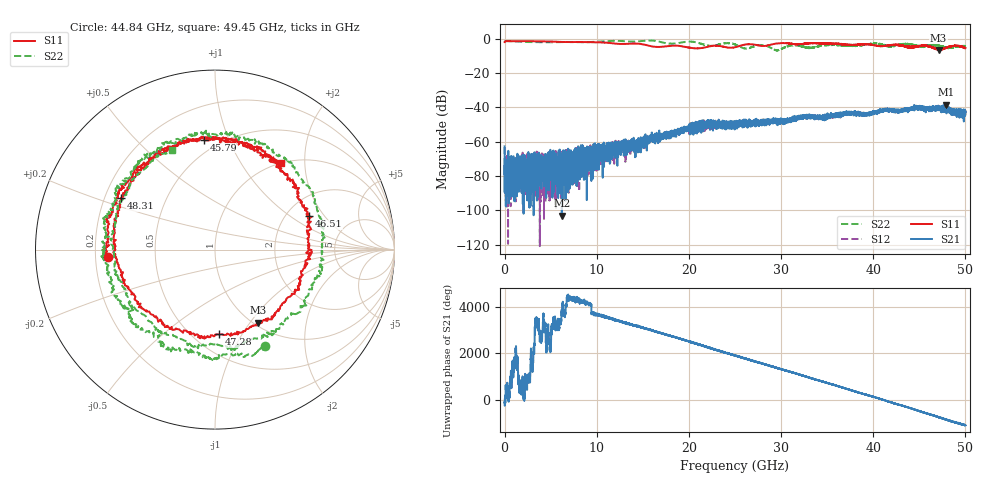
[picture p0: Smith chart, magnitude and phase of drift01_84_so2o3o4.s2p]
!Created with skrf (http://scikit-rf.org).
# Hz S RI R 50.0
!freq ReS11 ImS11 ReS21 ImS21 ReS12 ImS12 ReS22 ImS22
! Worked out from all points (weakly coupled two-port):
!   10001 points, 300 kHz to 50 GHz, reference 50 ohm
!   highest |S21| = -38.41 dB at 47.92 GHz (marker M1); lowest = -103.2 dB at 6.205 GHz (marker M2)
!   lowest |S11| = -6.5 dB at 47.1 GHz (marker M3), VSWR 2.79, Z = 52.2 - j54.7 ohm
!   |S11| at or under -10 dB: nowhere
!   |S22| runs from -6.9 to -1.0 dB; largest |S21 - S12| = 0.0043
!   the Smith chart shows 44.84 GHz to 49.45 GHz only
!   S11 on the Smith chart (normalised r, x): 44.84 GHz: 0.25, -0.03; 45.79 GHz: 0.41, +0.82; 46.51 GHz: 2.64, +1.43; 47.28 GHz: 0.66, -0.80; 48.31 GHz: 0.27, +0.24; 49.45 GHz: 1.00, +1.52
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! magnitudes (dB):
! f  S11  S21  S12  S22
! 300 kHz  -2.1  -62.8  -63.3  -1.3
! 255.3 MHz  -1.4  -71.5  -97.5  -1.4
! 6.205 GHz  -1.9  -103.2  -75.1  -1.9
! 8.335 GHz  -1.9  -67.1  -70.2  -2.1
! 16.67 GHz  -4.8  -55.8  -57.9  -1.6
! 21.59 GHz  -5.3  -48.8  -49.8  -3.5
! 25 GHz  -5.0  -49.2  -49.7  -3.4
! 26.19 GHz  -3.4  -49.8  -48.3  -5.7
! 28.08 GHz  -4.2  -49.1  -48.6  -3.9
! 29.56 GHz  -2.8  -46.9  -48.1  -6.7
! 31.27 GHz  -3.0  -46.6  -47.4  -4.0
! 33.34 GHz  -2.6  -45.3  -45.7  -5.3
! 41.67 GHz  -3.9  -41.3  -41.2  -4.3
! 44.84 GHz  -4.4  -41.1  -39.5  -4.4
! 45.79 GHz  -4.2  -40.0  -41.0  -4.2
! 46.51 GHz  -5.1  -41.2  -40.5  -3.5
! 47.1 GHz  -6.5  -40.2  -40.9  -4.1
! 47.28 GHz  -6.5  -41.3  -39.7  -4.2
! 47.92 GHz  -5.3  -38.4  -42.0  -4.9
! 48.31 GHz  -4.5  -41.8  -42.0  -5.5
! 49.45 GHz  -4.3  -44.2  -43.5  -4.4
! 50 GHz  -5.4  -42.2  -44.6  -4.3
